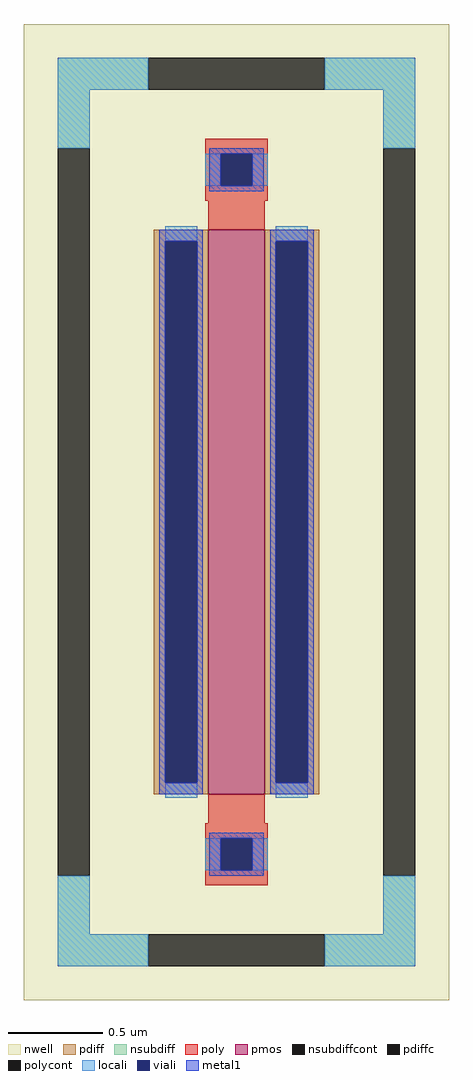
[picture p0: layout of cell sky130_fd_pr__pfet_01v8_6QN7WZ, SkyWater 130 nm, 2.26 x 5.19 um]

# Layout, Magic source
magic
tech sky130A
magscale 1 2
<< nwell >>
rect -226 -519 226 519
<< pmos >>
rect -30 -300 30 300
<< pdiff >>
rect -88 288 -30 300
rect -88 -288 -76 288
rect -42 -288 -30 288
rect -88 -300 -30 -288
rect 30 288 88 300
rect 30 -288 42 288
rect 76 -288 88 288
rect 30 -300 88 -288
<< pdiffc >>
rect -76 -288 -42 288
rect 42 -288 76 288
<< nsubdiff >>
rect -190 449 -94 483
rect 94 449 190 483
rect -190 387 -156 449
rect 156 387 190 449
rect -190 -449 -156 -387
rect 156 -449 190 -387
rect -190 -483 -94 -449
rect 94 -483 190 -449
<< nsubdiffcont >>
rect -94 449 94 483
rect -190 -387 -156 387
rect 156 -387 190 387
rect -94 -483 94 -449
<< poly >>
rect -33 381 33 397
rect -33 347 -17 381
rect 17 347 33 381
rect -33 331 33 347
rect -30 300 30 331
rect -30 -331 30 -300
rect -33 -347 33 -331
rect -33 -381 -17 -347
rect 17 -381 33 -347
rect -33 -397 33 -381
<< polycont >>
rect -17 347 17 381
rect -17 -381 17 -347
<< locali >>
rect -190 449 -94 483
rect 94 449 190 483
rect -190 387 -156 449
rect 156 387 190 449
rect -33 347 -17 381
rect 17 347 33 381
rect -76 288 -42 304
rect -76 -304 -42 -288
rect 42 288 76 304
rect 42 -304 76 -288
rect -33 -381 -17 -347
rect 17 -381 33 -347
rect -190 -449 -156 -387
rect 156 -449 190 -387
rect -190 -483 -94 -449
rect 94 -483 190 -449
<< viali >>
rect -17 347 17 381
rect -76 -288 -42 288
rect 42 -288 76 288
rect -17 -381 17 -347
<< metal1 >>
rect -29 381 29 387
rect -29 347 -17 381
rect 17 347 29 381
rect -29 341 29 347
rect -82 288 -36 300
rect -82 -288 -76 288
rect -42 -288 -36 288
rect -82 -300 -36 -288
rect 36 288 82 300
rect 36 -288 42 288
rect 76 -288 82 288
rect 36 -300 82 -288
rect -29 -347 29 -341
rect -29 -381 -17 -347
rect 17 -381 29 -347
rect -29 -387 29 -381
<< properties >>
string gencell sky130_fd_pr__pfet_01v8
string FIXED_BBOX -173 -466 173 466
string parameters w 3.0 l 0.3 m 1 nf 1 diffcov 100 polycov 100 guard 1 glc 1 grc 1 gtc 1 gbc 1 tbcov 100 rlcov 100 topc 1 botc 1 poverlap 0 doverlap 1 lmin 0.15 wmin 0.42 compatible {sky130_fd_pr__pfet_01v8  sky130_fd_pr__pfet_01v8_lvt sky130_fd_pr__pfet_01v8_hvt  sky130_fd_pr__pfet_g5v0d10v5} full_metal 1 viasrc 100 viadrn 100 viagate 100 viagb 0 viagt 0 viagr 0 viagl 0
string library sky130
<< end >>
